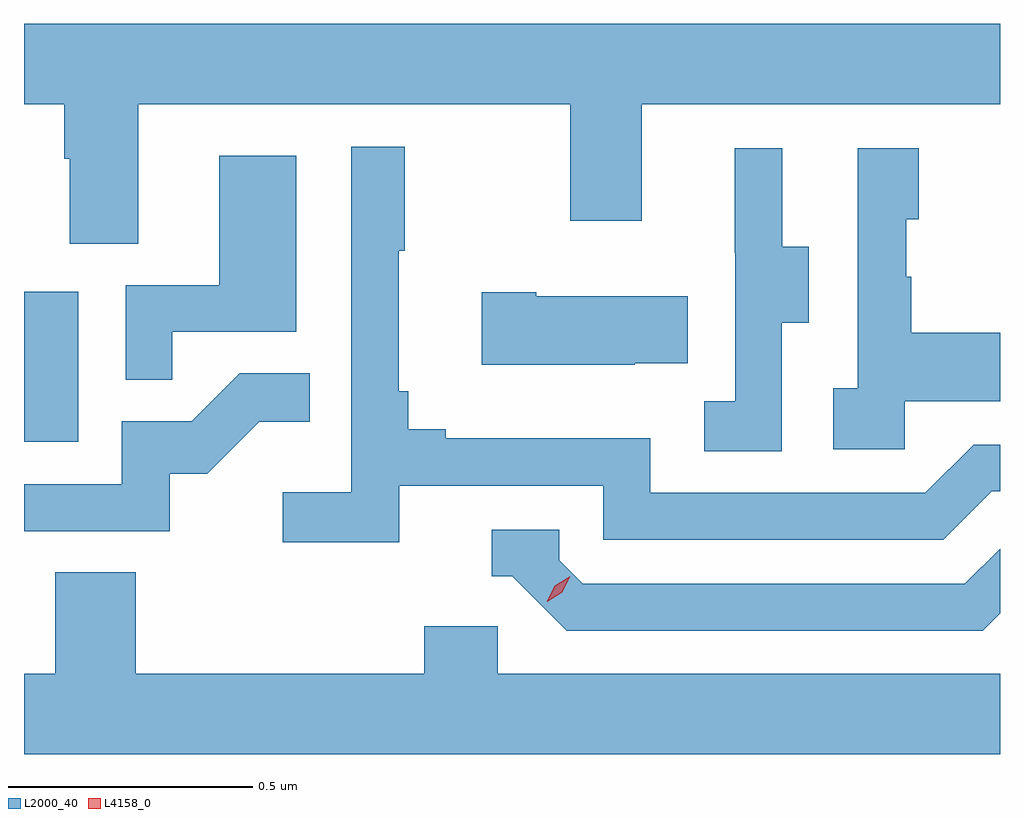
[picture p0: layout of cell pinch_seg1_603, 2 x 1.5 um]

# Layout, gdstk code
import gdstk
lib = gdstk.Library(unit=1e-6, precision=1e-09)
def R(c, l, rs):  # rectangles x0, y0, x1, y1
    for r in rs: c.add(gdstk.rectangle(r[:2], r[2:], *l))
def P(c, l, *ps):  # polygons
    for p in ps: c.add(gdstk.Polygon(p, *l))
L2000_40 = (2000, 40)
L4158_0 = (4158, 0)

pinch_seg1_603 = lib.new_cell('pinch_seg1_603')
R(pinch_seg1_603, L2000_40, [(1053.151,509.748,1053.262,510.055)])
P(pinch_seg1_603, L2000_40, [(1053.151,510.44),(1053.233,510.44),(1053.233,510.328),(1053.245,510.328),(1053.245,510.154),(1053.385,510.154),(1053.385,510.44),(1054.27,510.44),(1054.27,510.201),(1054.417,510.201),(1054.417,510.44),(1055.151,510.44),(1055.151,510.604),(1053.151,510.604)],
  [(1053.92,509.658),(1054.338,509.658),(1054.338,509.547),(1055.035,509.547),(1055.134,509.646),(1055.151,509.646),(1055.151,509.742),(1055.097,509.742),(1054.998,509.643),(1054.434,509.643),(1054.434,509.755),(1054.015,509.755),(1054.015,509.774),(1053.938,509.774),(1053.938,509.851),(1053.919,509.851),(1053.919,510.139),(1053.931,510.139),(1053.931,510.352),(1053.822,510.352),(1053.822,509.644),(1053.681,509.644),(1053.681,509.542),(1053.92,509.542)],
  [(1054.956,509.831),(1055.151,509.831),(1055.151,509.971),(1054.969,509.971),(1054.969,510.086),(1054.959,510.086),(1054.959,510.204),(1054.984,510.204),(1054.984,510.349),(1054.86,510.349),(1054.86,509.858),(1054.809,509.858),(1054.809,509.733),(1054.956,509.733)],
  [(1054.704,509.992),(1054.759,509.992),(1054.759,510.147),(1054.705,510.147),(1054.705,510.349),(1054.607,510.349),(1054.607,510.135),(1054.608,510.135),(1054.608,509.831),(1054.545,509.831),(1054.545,509.728),(1054.704,509.728)],
  [(1053.455,509.973),(1053.709,509.973),(1053.709,510.334),(1053.551,510.334),(1053.551,510.069),(1053.36,510.069),(1053.36,509.875),(1053.455,509.875)],
  [(1054.403,509.909),(1054.511,509.909),(1054.511,510.046),(1054.201,510.046),(1054.201,510.054),(1054.089,510.054),(1054.089,509.906),(1054.403,509.906)],
  [(1053.45,509.682),(1053.526,509.682),(1053.633,509.789),(1053.737,509.789),(1053.737,509.888),(1053.593,509.888),(1053.495,509.79),(1053.351,509.79),(1053.351,509.661),(1053.151,509.661),(1053.151,509.565),(1053.45,509.565)],
  [(1055.151,509.396),(1055.151,509.529),(1055.079,509.457),(1054.296,509.457),(1054.248,509.505),(1054.248,509.568),(1054.109,509.568),(1054.109,509.472),(1054.152,509.472),(1054.263,509.361),(1055.116,509.361)],
  [(1055.151,509.272),(1054.122,509.272),(1054.122,509.37),(1053.971,509.37),(1053.971,509.272),(1053.38,509.272),(1053.38,509.48),(1053.215,509.48),(1053.215,509.272),(1053.151,509.272),(1053.151,509.108),(1055.151,509.108)])
P(pinch_seg1_603, L4158_0, [(1054.223,509.42),(1054.223,509.421),(1054.239,509.453),(1054.27,509.472),(1054.27,509.472),(1054.27,509.472),(1054.254,509.44),(1054.223,509.42)])

lib.write_gds('pinch_seg1_603.gds')
